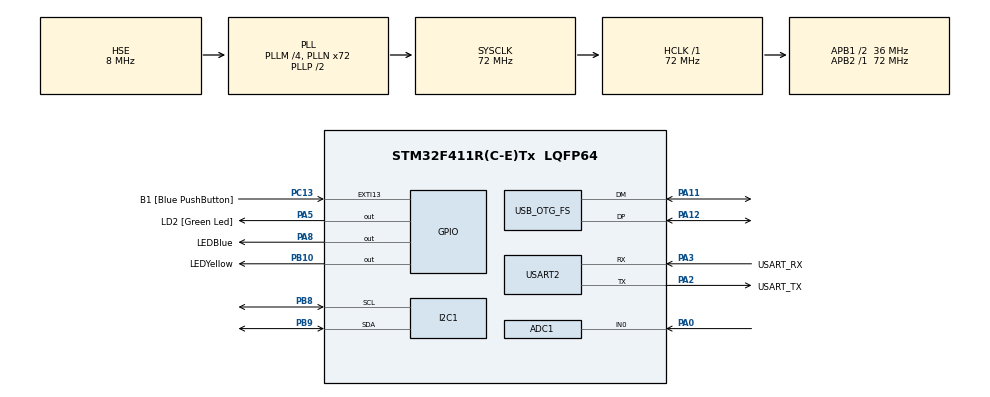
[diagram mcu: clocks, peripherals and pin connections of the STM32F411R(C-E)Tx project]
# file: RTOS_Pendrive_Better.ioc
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ADC1.Channel-0\#ChannelRegularConversion=ADC_CHANNEL_0
ADC1.DMAContinuousRequests=ENABLE
ADC1.ExternalTrigConv=ADC_EXTERNALTRIGCONV_T2_TRGO
ADC1.NbrOfConversionFlag=1
ADC1.Rank-0\#ChannelRegularConversion=1
ADC1.SamplingTime-0\#ChannelRegularConversion=ADC_SAMPLETIME_3CYCLES
ADC1.master=1
Dma.ADC1.0.Direction=DMA_PERIPH_TO_MEMORY
Dma.ADC1.0.FIFOMode=DMA_FIFOMODE_DISABLE
Dma.ADC1.0.Instance=DMA2_Stream0
Dma.ADC1.0.MemDataAlignment=DMA_MDATAALIGN_HALFWORD
Dma.ADC1.0.MemInc=DMA_MINC_ENABLE
Dma.ADC1.0.Mode=DMA_CIRCULAR
Dma.ADC1.0.PeriphDataAlignment=DMA_PDATAALIGN_HALFWORD
Dma.ADC1.0.PeriphInc=DMA_PINC_DISABLE
Dma.ADC1.0.Priority=DMA_PRIORITY_LOW
Dma.Request0=ADC1
FATFS._USE_LFN=2
FREERTOS.BinarySemaphores01=SemaphoreBmpQueue,Dynamic,NULL;SemaphoreBmpPenQueue,Dynamic,NULL
FREERTOS.Mutexes01=MutexPritnf,Dynamic,NULL;MutexI2C1,Dynamic,NULL;MutexBmpData,Dynamic,NULL
FREERTOS.Queues01=QueueBmpData,8,BmpData_t,0,Dynamic,NULL,NULL;QueueFFTData,16,FFTData_t,0,Dynamic,NULL,NULL;QueueBmpPenData,8,BmpData_t,0,Dynamic,NULL,NULL
FREERTOS.Tasks01=HeartbeatTask,24,128,StartHeartbeatTask,Default,NULL,Dynamic,NULL,NULL;Bmp280Task,32,256,StartBmp280Task,Default,NULL,Dynamic,NULL,NULL;OledTask,16,256,StartOledTask,Default,NULL,Dynamic,NULL,NULL;FFTTask,40,512,StartFFTTask,Default,NULL,Dynamic,NULL,NULL;PendriveTask,17,512,StartPendriveTask,Default,NULL,Dynamic,NULL,NULL
FREERTOS.Timers01=TimerBmpData,TimerBmpDataCallback,osTimerPeriodic,Default,NULL,Dynamic,NULL;TimerBmpPenData,TimerBmpPenDataCallback,osTimerPeriodic,Default,NULL,Dynamic,NULL
FREERTOS.configCHECK_FOR_STACK_OVERFLOW=2
FREERTOS.configTIMER_TASK_PRIORITY=17
FREERTOS.configTOTAL_HEAP_SIZE=32000
FREERTOS.configUSE_MALLOC_FAILED_HOOK=1
I2C1.I2C_Mode=I2C_Fast
Mcu.Family=STM32F4
Mcu.Name=STM32F411R(C-E)Tx
Mcu.Package=LQFP64
NVIC.ADC_IRQn=true\:5\:0\:false\:false\:true\:true\:true\:true\:true
NVIC.DMA2_Stream0_IRQn=true\:5\:0\:false\:false\:true\:true\:false\:true\:true
NVIC.EXTI15_10_IRQn=true\:5\:0\:false\:false\:true\:true\:true\:true\:true
NVIC.OTG_FS_IRQn=true\:5\:0\:false\:false\:true\:true\:false\:true\:true
NVIC.PriorityGroup=NVIC_PRIORITYGROUP_4
NVIC.TIM1_UP_TIM10_IRQn=true\:15\:0\:false\:false\:true\:false\:false\:true\:true
NVIC.TimeBase=TIM1_UP_TIM10_IRQn
NVIC.TimeBaseIP=TIM10
PA0-WKUP.Signal=ADCx_IN0
PA11.Mode=Host_Only
PA11.Signal=USB_OTG_FS_DM
PA12.Mode=Host_Only
PA12.Signal=USB_OTG_FS_DP
PA13.GPIO_Label=TMS
PA13.Mode=Serial_Wire
PA13.Signal=SYS_JTMS-SWDIO
PA14.GPIO_Label=TCK
PA14.Mode=Serial_Wire
PA14.Signal=SYS_JTCK-SWCLK
PA2.GPIO_Label=USART_TX
PA2.Mode=Asynchronous
PA2.Signal=USART2_TX
PA3.GPIO_Label=USART_RX
PA3.Mode=Asynchronous
PA3.Signal=USART2_RX
PA5.GPIO_Label=LD2 [Green Led]
PA5.Signal=GPIO_Output
PA8.GPIO_Label=LEDBlue
PA8.Signal=GPIO_Output
PB10.GPIO_Label=LEDYellow
PB10.Signal=GPIO_Output
PB3.GPIO_Label=SWO
PB3.Signal=SYS_JTDO-SWO
PB8.Mode=I2C
PB8.Signal=I2C1_SCL
PB9.Mode=I2C
PB9.Signal=I2C1_SDA
PC13-ANTI_TAMP.GPIO_Label=B1 [Blue PushButton]
PC13-ANTI_TAMP.GPIO_ModeDefaultEXTI=GPIO_MODE_IT_FALLING
PC13-ANTI_TAMP.Signal=GPXTI13
PC14-OSC32_IN.Mode=LSE-External-Oscillator
PC14-OSC32_IN.Signal=RCC_OSC32_IN
PC15-OSC32_OUT.Mode=LSE-External-Oscillator
PC15-OSC32_OUT.Signal=RCC_OSC32_OUT
PH0\ -\ OSC_IN.Mode=HSE-External-Clock-Source
PH0\ -\ OSC_IN.Signal=RCC_OSC_IN
PH1\ -\ OSC_OUT.Mode=HSE-External-Clock-Source
PH1\ -\ OSC_OUT.Signal=RCC_OSC_OUT
ProjectManager.HeapSize=0x200
ProjectManager.StackSize=0x400
ProjectManager.TargetToolchain=STM32CubeIDE
RCC.48MHZClocksFreq_Value=48000000
RCC.AHBFreq_Value=72000000
RCC.APB1CLKDivider=RCC_HCLK_DIV2
RCC.APB1Freq_Value=36000000
RCC.APB1TimFreq_Value=72000000
RCC.APB2Freq_Value=72000000
RCC.APB2TimFreq_Value=72000000
RCC.CortexFreq_Value=72000000
RCC.FLatency-AdvancedSettings=FLASH_LATENCY_2
RCC.HCLKFreq_Value=72000000
RCC.HSE_VALUE=8000000
RCC.HSI_VALUE=16000000
RCC.PLLM=4
RCC.PLLN=72
RCC.PLLQ=3
RCC.SYSCLKFreq_VALUE=72000000
RCC.SYSCLKSource=RCC_SYSCLKSOURCE_PLLCLK
RCC.VCOOutputFreq_Value=144000000
SH.ADCx_IN0.0=ADC1_IN0,IN0
TIM2.ClockDivision=TIM_CLOCKDIVISION_DIV2
TIM2.Period=233
TIM2.Prescaler=2
TIM2.TIM_MasterOutputTrigger=TIM_TRGO_UPDATE
USART2.VirtualMode=VM_ASYNC
USB_HOST.USBH_HandleTypeDef=hUsbHostFS
USB_HOST.USBH_PROCESS_STACK_SIZE=1024
USB_HOST.VirtualModeFS=Msc
USB_OTG_FS.VirtualMode=Host_Only
USB_OTG_FS.phy_itface=HCD_PHY_EMBEDDED
VP_FATFS_VS_USB.Mode=USB
VP_FREERTOS_VS_CMSIS_V2.Mode=CMSIS_V2
VP_SYS_VS_tim10.Mode=TIM10
VP_TIM2_VS_ClockSourceINT.Mode=Internal
VP_USB_HOST_VS_USB_HOST_MSC_FS.Mode=MSC_FS
board=NUCLEO-F411RE

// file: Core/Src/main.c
/* USER CODE BEGIN Header */
/**
  ******************************************************************************
  * @file           : main.c
  * @brief          : Main program body
  ******************************************************************************
  * @attention
  *
  * Copyright (c) 2023 STMicroelectronics.
  * All rights reserved.
  *
  * This software is licensed under terms that can be found in the LICENSE file
  * in the root directory of this software component.
  * If no LICENSE file comes with this software, it is provided AS-IS.
  *
  ******************************************************************************
  */
/* USER CODE END Header */
#include "main.h"
#include "cmsis_os.h"
#include "adc.h"
#include "dma.h"
#include "fatfs.h"
#include "i2c.h"
#include "tim.h"
#include "usart.h"
#include "usb_host.h"
#include "gpio.h"

void SystemClock_Config(void);
void MX_FREERTOS_Init(void);

int main(void)
{

  /* MCU Configuration--------------------------------------------------------*/

  /* Reset of all peripherals, Initializes the Flash interface and the Systick. */
  HAL_Init();

  /* Configure the system clock */
  SystemClock_Config();

  /* Initialize all configured peripherals */
  MX_GPIO_Init();
  MX_DMA_Init();
  MX_USART2_UART_Init();
  MX_I2C1_Init();
  MX_ADC1_Init();
  MX_TIM2_Init();
  MX_FATFS_Init();

  /* Init scheduler */
  osKernelInitialize();  /* Call init function for freertos objects (in freertos.c) */
  MX_FREERTOS_Init();

  /* Start scheduler */
  osKernelStart();

  /* We should never get here as control is now taken by the scheduler */
  /* Infinite loop */
  while (1)
  {

  }
}

void SystemClock_Config(void)
{
  RCC_OscInitTypeDef RCC_OscInitStruct = {0};
  RCC_ClkInitTypeDef RCC_ClkInitStruct = {0};

  /** Configure the main internal regulator output voltage
  */
  __HAL_RCC_PWR_CLK_ENABLE();
  __HAL_PWR_VOLTAGESCALING_CONFIG(PWR_REGULATOR_VOLTAGE_SCALE1);

  /** Initializes the RCC Oscillators according to the specified parameters
  * in the RCC_OscInitTypeDef structure.
  */
  RCC_OscInitStruct.OscillatorType = RCC_OSCILLATORTYPE_HSE;
  RCC_OscInitStruct.HSEState = RCC_HSE_BYPASS;
  RCC_OscInitStruct.PLL.PLLState = RCC_PLL_ON;
  RCC_OscInitStruct.PLL.PLLSource = RCC_PLLSOURCE_HSE;
  RCC_OscInitStruct.PLL.PLLM = 4;
  RCC_OscInitStruct.PLL.PLLN = 72;
  RCC_OscInitStruct.PLL.PLLP = RCC_PLLP_DIV2;
  RCC_OscInitStruct.PLL.PLLQ = 3;
  if (HAL_RCC_OscConfig(&RCC_OscInitStruct) != HAL_OK)
  {
    Error_Handler();
  }

  /** Initializes the CPU, AHB and APB buses clocks
  */
  RCC_ClkInitStruct.ClockType = RCC_CLOCKTYPE_HCLK|RCC_CLOCKTYPE_SYSCLK
                              |RCC_CLOCKTYPE_PCLK1|RCC_CLOCKTYPE_PCLK2;
  RCC_ClkInitStruct.SYSCLKSource = RCC_SYSCLKSOURCE_PLLCLK;
  RCC_ClkInitStruct.AHBCLKDivider = RCC_SYSCLK_DIV1;
  RCC_ClkInitStruct.APB1CLKDivider = RCC_HCLK_DIV2;
  RCC_ClkInitStruct.APB2CLKDivider = RCC_HCLK_DIV1;

  if (HAL_RCC_ClockConfig(&RCC_ClkInitStruct, FLASH_LATENCY_2) != HAL_OK)
  {
    Error_Handler();
  }
}

void HAL_TIM_PeriodElapsedCallback(TIM_HandleTypeDef *htim)
{
  if (htim->Instance == TIM10) {
    HAL_IncTick();
  }
}

void Error_Handler(void)
{
  __disable_irq();
  while (1)
  {
  }
}

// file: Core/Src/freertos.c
/* USER CODE BEGIN Header */
/**
  ******************************************************************************
  * File Name          : freertos.c
  * Description        : Code for freertos applications
  ******************************************************************************
  * @attention
  *
  * Copyright (c) 2023 STMicroelectronics.
  * All rights reserved.
  *
  * This software is licensed under terms that can be found in the LICENSE file
  * in the root directory of this software component.
  * If no LICENSE file comes with this software, it is provided AS-IS.
  *
  ******************************************************************************
  */
/* USER CODE END Header */

#include "FreeRTOS.h"
#include "task.h"
#include "main.h"
#include "cmsis_os.h"

/* USER CODE BEGIN Includes */
#include "printf.h"
#include "bmp280.h"
#include "i2c.h"
#include "usart.h"
#include "SSD1306_OLED.h"
#include "GFX_BW.h"
#include "fonts/fonts.h"
#include "arm_math.h"
#include "tim.h"
#include "adc.h"
#include "usb_host.h"
#include "fatfs.h"
/* USER CODE END Includes */

/* USER CODE BEGIN PD */
#define FFT_SAMPLES 1024

#define f_unmount(path) f_mount(0, path, 0)
/* USER CODE END PD */

/* USER CODE BEGIN Variables */
typedef struct
{
	float Pressure;
	float Temperature;
}BmpData_t;

typedef struct
{
	uint8_t OutFreqArray[10];
} FFTData_t;

// variables for USB
volatile uint8_t UnmountUSB = 0;

/* USER CODE END Variables */
/* Definitions for HeartbeatTask */
osThreadId_t HeartbeatTaskHandle;
const osThreadAttr_t HeartbeatTask_attributes = {
  .name = "HeartbeatTask",
  .stack_size = 128 * 4,
  .priority = (osPriority_t) osPriorityNormal,
};
/* Definitions for Bmp280Task */
osThreadId_t Bmp280TaskHandle;
const osThreadAttr_t Bmp280Task_attributes = {
  .name = "Bmp280Task",
  .stack_size = 256 * 4,
  .priority = (osPriority_t) osPriorityAboveNormal,
};
/* Definitions for OledTask */
osThreadId_t OledTaskHandle;
const osThreadAttr_t OledTask_attributes = {
  .name = "OledTask",
  .stack_size = 256 * 4,
  .priority = (osPriority_t) osPriorityBelowNormal,
};
/* Definitions for FFTTask */
osThreadId_t FFTTaskHandle;
const osThreadAttr_t FFTTask_attributes = {
  .name = "FFTTask",
  .stack_size = 512 * 4,
  .priority = (osPriority_t) osPriorityHigh,
};
/* Definitions for PendriveTask */
osThreadId_t PendriveTaskHandle;
const osThreadAttr_t PendriveTask_attributes = {
  .name = "PendriveTask",
  .stack_size = 512 * 4,
  .priority = (osPriority_t) osPriorityBelowNormal1,
};
/* Definitions for QueueBmpData */
osMessageQueueId_t QueueBmpDataHandle;
const osMessageQueueAttr_t QueueBmpData_attributes = {
  .name = "QueueBmpData"
};
/* Definitions for QueueFFTData */
osMessageQueueId_t QueueFFTDataHandle;
const osMessageQueueAttr_t QueueFFTData_attributes = {
  .name = "QueueFFTData"
};
/* Definitions for QueueBmpPenData */
osMessageQueueId_t QueueBmpPenDataHandle;
const osMessageQueueAttr_t QueueBmpPenData_attributes = {
  .name = "QueueBmpPenData"
};
/* Definitions for TimerBmpData */
osTimerId_t TimerBmpDataHandle;
const osTimerAttr_t TimerBmpData_attributes = {
  .name = "TimerBmpData"
};
/* Definitions for TimerBmpPenData */
osTimerId_t TimerBmpPenDataHandle;
const osTimerAttr_t TimerBmpPenData_attributes = {
  .name = "TimerBmpPenData"
};
/* Definitions for MutexPritnf */
osMutexId_t MutexPritnfHandle;
const osMutexAttr_t MutexPritnf_attributes = {
  .name = "MutexPritnf"
};
/* Definitions for MutexI2C1 */
osMutexId_t MutexI2C1Handle;
const osMutexAttr_t MutexI2C1_attributes = {
  .name = "MutexI2C1"
};
/* Definitions for MutexBmpData */
osMutexId_t MutexBmpDataHandle;
const osMutexAttr_t MutexBmpData_attributes = {
  .name = "MutexBmpData"
};
/* Definitions for SemaphoreBmpQueue */
osSemaphoreId_t SemaphoreBmpQueueHandle;
const osSemaphoreAttr_t SemaphoreBmpQueue_attributes = {
  .name = "SemaphoreBmpQueue"
};
/* Definitions for SemaphoreBmpPenQueue */
osSemaphoreId_t SemaphoreBmpPenQueueHandle;
const osSemaphoreAttr_t SemaphoreBmpPenQueue_attributes = {
  .name = "SemaphoreBmpPenQueue"
};

/* USER CODE BEGIN FunctionPrototypes */
float complexABS(float real, float compl);
/* USER CODE END FunctionPrototypes */

void StartHeartbeatTask(void *argument);
void StartBmp280Task(void *argument);
void StartOledTask(void *argument);
void StartFFTTask(void *argument);
void StartPendriveTask(void *argument);
void TimerBmpDataCallback(void *argument);
void TimerBmpPenDataCallback(void *argument);

extern void MX_USB_HOST_Init(void);
void MX_FREERTOS_Init(void); /* (MISRA C 2004 rule 8.1) */

/* Hook prototypes */
void vApplicationStackOverflowHook(xTaskHandle xTask, signed char *pcTaskName);
void vApplicationMallocFailedHook(void);

/* USER CODE BEGIN 4 */
void vApplicationStackOverflowHook(xTaskHandle xTask, signed char *pcTaskName)
{
   /* Run time stack overflow checking is performed if
   configCHECK_FOR_STACK_OVERFLOW is defined to 1 or 2. This hook function is
   called if a stack overflow is detected. */
	printf(pcTaskName);
	while(1){}
}
/* USER CODE END 4 */

/* USER CODE BEGIN 5 */
void vApplicationMallocFailedHook(void)
{
   /* vApplicationMallocFailedHook() will only be called if
   configUSE_MALLOC_FAILED_HOOK is set to 1 in FreeRTOSConfig.h. It is a hook
   function that will get called if a call to pvPortMalloc() fails.
   pvPortMalloc() is called internally by the kernel whenever a task, queue,
   timer or semaphore is created. It is also called by various parts of the
   demo application. If heap_1.c or heap_2.c are used, then the size of the
   heap available to pvPortMalloc() is defined by configTOTAL_HEAP_SIZE in
   FreeRTOSConfig.h, and the xPortGetFreeHeapSize() API function can be used
   to query the size of free heap space that remains (although it does not
   provide information on how the remaining heap might be fragmented). */
	while(1){}
}
/* USER CODE END 5 */

void MX_FREERTOS_Init(void) {
  /* Create the mutex(es) */
  /* creation of MutexPritnf */
  MutexPritnfHandle = osMutexNew(&MutexPritnf_attributes);

  /* creation of MutexI2C1 */
  MutexI2C1Handle = osMutexNew(&MutexI2C1_attributes);

  /* creation of MutexBmpData */
  MutexBmpDataHandle = osMutexNew(&MutexBmpData_attributes);

  /* Create the semaphores(s) */
  /* creation of SemaphoreBmpQueue */
  SemaphoreBmpQueueHandle = osSemaphoreNew(1, 1, &SemaphoreBmpQueue_attributes);

  /* creation of SemaphoreBmpPenQueue */
  SemaphoreBmpPenQueueHandle = osSemaphoreNew(1, 1, &SemaphoreBmpPenQueue_attributes);

  /* Create the timer(s) */
  /* creation of TimerBmpData */
  TimerBmpDataHandle = osTimerNew(TimerBmpDataCallback, osTimerPeriodic, NULL, &TimerBmpData_attributes);

  /* creation of TimerBmpPenData */
  TimerBmpPenDataHandle = osTimerNew(TimerBmpPenDataCallback, osTimerPeriodic, NULL, &TimerBmpPenData_attributes);

  /* Create the queue(s) */
  /* creation of QueueBmpData */
  QueueBmpDataHandle = osMessageQueueNew (8, sizeof(BmpData_t), &QueueBmpData_attributes);

  /* creation of QueueFFTData */
  QueueFFTDataHandle = osMessageQueueNew (16, sizeof(FFTData_t), &QueueFFTData_attributes);

  /* creation of QueueBmpPenData */
  QueueBmpPenDataHandle = osMessageQueueNew (8, sizeof(BmpData_t), &QueueBmpPenData_attributes);

  /* Create the thread(s) */
  /* creation of HeartbeatTask */
  HeartbeatTaskHandle = osThreadNew(StartHeartbeatTask, NULL, &HeartbeatTask_attributes);

  /* creation of Bmp280Task */
  Bmp280TaskHandle = osThreadNew(StartBmp280Task, NULL, &Bmp280Task_attributes);

  /* creation of OledTask */
  OledTaskHandle = osThreadNew(StartOledTask, NULL, &OledTask_attributes);

  /* creation of FFTTask */
  FFTTaskHandle = osThreadNew(StartFFTTask, NULL, &FFTTask_attributes);

  /* creation of PendriveTask */
  PendriveTaskHandle = osThreadNew(StartPendriveTask, NULL, &PendriveTask_attributes);

}

void StartHeartbeatTask(void *argument)
{
  /* init code for USB_HOST */
  MX_USB_HOST_Init();
  /* USER CODE BEGIN StartHeartbeatTask */
  /* Infinite loop */
  for(;;)
  {
	HAL_GPIO_TogglePin(LD2_GPIO_Port, LD2_Pin);
    osDelay(500);
  }
  /* USER CODE END StartHeartbeatTask */
}

void StartBmp280Task(void *argument)
{
  /* USER CODE BEGIN StartBmp280Task */
	BMP280_t Bmp280;
	BmpData_t _BmpData;
	uint32_t DelayTick = osKernelGetTickCount();

	osMutexAcquire(MutexI2C1Handle, osWaitForever);
	BMP280_Init(&Bmp280, &hi2c1, 0x76);
	osMutexRelease(MutexI2C1Handle);

	// Start Timer to get data form bmp to display
	osTimerStart(TimerBmpDataHandle, 100);

  /* Infinite loop */
  for(;;)
  {
	//printf("BMP\n\r");
	osMutexAcquire(MutexI2C1Handle, osWaitForever);
	BMP280_ReadTemperatureAndPressure(&Bmp280, &_BmpData.Pressure, &_BmpData.Temperature);
	osMutexRelease(MutexI2C1Handle);

	if(osOK == osSemaphoreAcquire(SemaphoreBmpQueueHandle, 0))
	{
		osMessageQueuePut(QueueBmpDataHandle, &_BmpData, 0, osWaitForever);
	}
	if(osOK == osSemaphoreAcquire(SemaphoreBmpPenQueueHandle, 0))
	{
		osMessageQueuePut(QueueBmpPenDataHandle, &_BmpData, 0, osWaitForever);
	}
//	printf("Temperature: %.2f, Pressure: %.2f\n\r", _BmpData.Temperature, _BmpData.Pressure);
	DelayTick += 10;
    osDelayUntil(DelayTick);
  }
  /* USER CODE END StartBmp280Task */
}

void StartOledTask(void *argument)
{
  /* USER CODE BEGIN StartOledTask */
	char Message[32];
	BmpData_t _BmpData;
	FFTData_t _FFTData;
	//uint8_t i = 0;

	osMutexAcquire(MutexI2C1Handle, osWaitForever);
	SSD1306_Init(&hi2c1);
	osMutexRelease(MutexI2C1Handle);

	GFX_SetFont(font_8x5);
	SSD1306_Clear(BLACK);

	SSD1306_Display();

  /* Infinite loop */
  for(;;)
  {
	SSD1306_Clear(BLACK);
	//printf("Oled\n\r");
	osMessageQueueGet(QueueBmpDataHandle, &_BmpData, 0, 0);

	osMessageQueueGet(QueueFFTDataHandle, &_FFTData, 0, 0);

	sprintf(Message, "Temp: %.2f C",  _BmpData.Temperature);
	GFX_DrawString(0,0, Message, WHITE, BLACK);
	sprintf(Message, "Press: %.2f hPa",_BmpData.Pressure);
	GFX_DrawString(0,15, Message, WHITE, BLACK);

	// FFT
	for(uint8_t i = 0; i < 10; i++) // Each frequency
	{
	  GFX_DrawFillRectangle(10+(i*11), 64-_FFTData.OutFreqArray[i], 10, _FFTData.OutFreqArray[i], WHITE);
	}

	SSD1306_Display();

  }
  /* USER CODE END StartOledTask */
}

void StartFFTTask(void *argument)
{
  /* USER CODE BEGIN StartFFTTask */
	arm_rfft_fast_instance_f32 FFTHandler;
	FFTData_t FFTData;
	int FreqPoint = 0;
	int Offset = 55; // variable noise floor offset

	uint16_t *AdcMicrophone;
	float *FFTInBuffer;
	float *FFTOutBuffer;
	int *Freqs;

	// zaalakujmy je na stercie od FRTOS'a
	AdcMicrophone = pvPortMalloc(FFT_SAMPLES * sizeof(uint16_t));
	FFTInBuffer = pvPortMalloc(FFT_SAMPLES * sizeof(float));
	FFTOutBuffer = pvPortMalloc(FFT_SAMPLES * sizeof(float));
	Freqs = pvPortMalloc(FFT_SAMPLES * sizeof(int));

	HAL_TIM_Base_Start(&htim2);
	HAL_ADC_Start_DMA(&hadc1, (uint32_t*)AdcMicrophone, FFT_SAMPLES);
	arm_rfft_fast_init_f32(&FFTHandler, FFT_SAMPLES);

  /* Infinite loop */
  for(;;)
  {
	  osThreadFlagsWait(0x01, osFlagsWaitAll, osWaitForever);
	  for(uint32_t i = 0; i < FFT_SAMPLES; i++)
	  {
		  FFTInBuffer[i] = (float)AdcMicrophone[i];
		  //printf("%d\n\r", AdcMicrophone[i]);
	  }
	  arm_rfft_fast_f32(&FFTHandler, FFTInBuffer, FFTOutBuffer, 0); // zwraca liczby zespolone

	  FreqPoint = 0;
	  // calculate abs values and linear-to-dB
	  for (int i = 0; i < FFT_SAMPLES; i = i+2)
	  {
		  Freqs[FreqPoint] = (int)(20*log10f(complexABS(FFTOutBuffer[i], FFTOutBuffer[i+1]))) - Offset;

		  if(Freqs[FreqPoint] < 0)
		  {
			  Freqs[FreqPoint] = 0;
		  }
		  FreqPoint++;

	  }

//	  FFTData.OutFreqArray[0] = (uint8_t)Freqs[1]; // 22 Hz
//	  FFTData.OutFreqArray[1] = (uint8_t)Freqs[2]; // 63 Hz
//	  FFTData.OutFreqArray[2] = (uint8_t)Freqs[3]; // 125 Hz
//	  FFTData.OutFreqArray[3] = (uint8_t)Freqs[6]; // 250 Hz
//	  FFTData.OutFreqArray[4] = (uint8_t)Freqs[12]; // 500 Hz
//	  FFTData.OutFreqArray[5] = (uint8_t)Freqs[23]; // 1000 Hz
//	  FFTData.OutFreqArray[6] = (uint8_t)Freqs[51]; // 2200 Hz
//	  FFTData.OutFreqArray[7] = (uint8_t)Freqs[104]; // 4500 Hz
//	  FFTData.OutFreqArray[8] = (uint8_t)Freqs[207]; // 9000 Hz
//	  FFTData.OutFreqArray[9] = (uint8_t)Freqs[344]; // 15000 Hz

	  FFTData.OutFreqArray[0] = (uint8_t)Freqs[1]; // 50 Hz
	  FFTData.OutFreqArray[1] = (uint8_t)Freqs[2]; // 100 Hz
	  FFTData.OutFreqArray[2] = (uint8_t)Freqs[3]; // 150 Hz
	  FFTData.OutFreqArray[3] = (uint8_t)Freqs[6]; // 300 Hz
	  FFTData.OutFreqArray[4] = (uint8_t)Freqs[12]; // 600 Hz
	  FFTData.OutFreqArray[5] = (uint8_t)Freqs[20]; // 1000 Hz
	  FFTData.OutFreqArray[6] = (uint8_t)Freqs[22]; // 1100 Hz
	  FFTData.OutFreqArray[7] = (uint8_t)Freqs[40]; // 2000 Hz
	  FFTData.OutFreqArray[8] = (uint8_t)Freqs[207]; // 10350 Hz
	  FFTData.OutFreqArray[9] = (uint8_t)Freqs[344]; // 17200 Hz

	  osMessageQueuePut(QueueFFTDataHandle, &FFTData, 0, osWaitForever);

	  //CalculateFFT();
  }
  /* USER CODE END StartFFTTask */
}

void StartPendriveTask(void *argument)
{
  /* USER CODE BEGIN StartPendriveTask */
	extern ApplicationTypeDef Appli_state;
	extern uint8_t retUSBH; /* Return value for USBH */
	extern char USBHPath[4]; /* USBH logical drive path */
	extern FATFS USBHFatFS; /* File system object for USBH logical drive */
	extern FIL USBHFile; /* File object for USBH */
	FILINFO fno;
	DIR Directory;
	uint16_t nfile = 0;
	char FileName[64];
	BmpData_t _BmpData;

	typedef enum
	{
		DEVICE_MOUNT = 0,
		DIR_AND_FILE_OPEN,
		SAVE_DATA_TO_FILE,
		TRY_UNMOUNT_DEVICE,
		UNMOUNT_DEVICE,
		ERROR_DEVICE,
		MAX_NUMBER_OF_FILES
	} USBDeviceStatus_t;
	USBDeviceStatus_t USBDeviceStatus = DEVICE_MOUNT;

	HAL_GPIO_WritePin(LEDBlue_GPIO_Port, LEDBlue_Pin, GPIO_PIN_SET);
  /* Infinite loop */
  for(;;)
  {
	  switch (Appli_state)
	  {
		case APPLICATION_IDLE:
			//printf("IDLE\n\r");
			HAL_GPIO_TogglePin(LEDBlue_GPIO_Port, LEDBlue_Pin);
			HAL_GPIO_TogglePin(LEDYellow_GPIO_Port, LEDYellow_Pin);
			osDelay(1000);
			break;
		case APPLICATION_START:
			break;
		case APPLICATION_READY:
			//printf("READY\n\r");

			switch (USBDeviceStatus)
			{
				case DEVICE_MOUNT:
					retUSBH = f_mount(&USBHFatFS, (const TCHAR*)USBHPath, 1);
					if(retUSBH == FR_OK)
					{
						HAL_GPIO_WritePin(LEDBlue_GPIO_Port, LEDBlue_Pin, GPIO_PIN_SET);
						HAL_GPIO_WritePin(LEDYellow_GPIO_Port, LEDYellow_Pin, GPIO_PIN_RESET);
						printf("FatFS mounted\n\r");
						USBDeviceStatus = DIR_AND_FILE_OPEN;
					}
					else
					{
						printf("FatFS mount error\n\r");
						HAL_GPIO_WritePin(LEDBlue_GPIO_Port, LEDBlue_Pin, GPIO_PIN_RESET);
						USBDeviceStatus = ERROR_DEVICE;
					}

					break;
				case DIR_AND_FILE_OPEN:
					// make sub dir BMPData, if exist nothing happened
					retUSBH = f_mkdir("BMPData");
					if(retUSBH == FR_OK)
						printf("Created SubDir\n\r");
					else if(retUSBH != FR_OK && retUSBH != FR_EXIST )
					{
						printf("SubDir Error\n\r");
						HAL_GPIO_WritePin(LEDBlue_GPIO_Port, LEDBlue_Pin, GPIO_PIN_RESET);
						USBDeviceStatus = ERROR_DEVICE;
					}

					// Open Directory
					retUSBH = f_opendir(&Directory, "BMPData");
					if(retUSBH == FR_OK)
					{
						printf("Opened Sub Dir\n\r");
						//Find Last file...
						while(1)
						{
							retUSBH = f_readdir(&Directory, &fno);
							if(retUSBH != FR_OK || fno.fname[0] == 0)
								break;
							if(fno.fname[0] != 0)
								nfile++;
						}

					}
					else
					{
						printf("OpenDir Error\n\r");
						HAL_GPIO_WritePin(LEDBlue_GPIO_Port, LEDBlue_Pin, GPIO_PIN_RESET);
						USBDeviceStatus = ERROR_DEVICE;
					}
					//... and create new with higher number
					if((nfile + 1) > 255)
					{
						printf("Number of files: 255. MAX! Clear the device\n\r");
						HAL_GPIO_WritePin(LEDBlue_GPIO_Port, LEDBlue_Pin, GPIO_PIN_RESET);
						HAL_GPIO_WritePin(LEDYellow_GPIO_Port, LEDYellow_Pin, GPIO_PIN_RESET);
						USBDeviceStatus = MAX_NUMBER_OF_FILES;
					}
					else
					{
						sprintf(FileName, "BMPData\\BmpData%d.txt", nfile + 1);
						printf("File Name: %s\n\r", FileName);
						retUSBH = f_open(&USBHFile, (const TCHAR*)FileName, FA_CREATE_NEW | FA_WRITE);
						if(retUSBH != FR_OK)
						{
							printf("Cant open a file: %d\n\r", retUSBH);
							HAL_GPIO_WritePin(LEDBlue_GPIO_Port, LEDBlue_Pin, GPIO_PIN_RESET);
							USBDeviceStatus = ERROR_DEVICE;
						}
						else
						{
							printf("File opened\n\r");
							osTimerStart(TimerBmpPenDataHandle, 5000);
							USBDeviceStatus = SAVE_DATA_TO_FILE;
						}
					}

					break;
				case SAVE_DATA_TO_FILE:
					if(osOK == osMessageQueueGet(QueueBmpPenDataHandle, &_BmpData, 0, 0))
					{
						printf("T=%.2f, P=%.2f\n\r", _BmpData.Temperature, _BmpData.Pressure); // @suppress("Float formatting support")
						retUSBH = f_printf(&USBHFile, "T=%5d, P=%6d\n", (uint16_t)(_BmpData.Temperature *100), (uint32_t)(_BmpData.Pressure*100));
						if(retUSBH > 0)
							printf("Zapisalem do pliku\n\r");
						else
							printf("Nie zapisalem do pliku: %d\n\r", retUSBH);
					}
					if(UnmountUSB == 1)
					{
						USBDeviceStatus = TRY_UNMOUNT_DEVICE;
					}
					osDelay(1000);
					break;
				case TRY_UNMOUNT_DEVICE:
					// stop timer
					osTimerStop(TimerBmpPenDataHandle);
					// close file
					retUSBH = f_close(&USBHFile);
					if(retUSBH != FR_OK)
					{
						printf("Cant close a file: %d\n\r", retUSBH);
						USBDeviceStatus = ERROR_DEVICE;
					}
					// close directory
					retUSBH = f_closedir(&Directory);
					if(retUSBH != FR_OK)
					{
						printf("Can't close directory: %d\n\r", retUSBH);
						USBDeviceStatus = ERROR_DEVICE;
					}
					retUSBH = f_unmount((const TCHAR*)USBHPath);
					if(retUSBH != FR_OK)
					{
						printf("Device can't be unmounted\n\r");
						USBDeviceStatus = ERROR_DEVICE;
					}
					else
					{
						printf("You can unmount your device\n\r");
						UnmountUSB = 0;
						nfile = 0;
						HAL_GPIO_WritePin(LEDYellow_GPIO_Port, LEDYellow_Pin, GPIO_PIN_RESET);
						USBDeviceStatus = UNMOUNT_DEVICE;
					}

					break;
				case UNMOUNT_DEVICE:
					HAL_GPIO_TogglePin(LEDBlue_GPIO_Port, LEDBlue_Pin);
					osDelay(100);
					break;
				case ERROR_DEVICE:
					HAL_GPIO_TogglePin(LEDYellow_GPIO_Port, LEDYellow_Pin);
					if(UnmountUSB == 1)
					{
						USBDeviceStatus = TRY_UNMOUNT_DEVICE;
					}
					osDelay(100);
					break;
				case MAX_NUMBER_OF_FILES:
					HAL_GPIO_TogglePin(LEDBlue_GPIO_Port, LEDBlue_Pin);
					HAL_GPIO_TogglePin(LEDYellow_GPIO_Port, LEDYellow_Pin);
					if(UnmountUSB == 1)
					{
						USBDeviceStatus = TRY_UNMOUNT_DEVICE;
						HAL_GPIO_WritePin(LEDYellow_GPIO_Port, LEDYellow_Pin, GPIO_PIN_RESET);
					}
					osDelay(100);
					break;
				default:
					break;
			}
			break;
		case APPLICATION_DISCONNECT:
			printf("DISCON\n\r");
			USBDeviceStatus = DEVICE_MOUNT;
			HAL_GPIO_WritePin(LEDBlue_GPIO_Port, LEDBlue_Pin, GPIO_PIN_SET);
			Appli_state = APPLICATION_IDLE;
			osDelay(1000);
			break;
		default:
			printf("DEFAULT\n\r");
			osDelay(1000);
			break;
	  }

  }
  /* USER CODE END StartPendriveTask */
}

/* TimerBmpDataCallback function */
void TimerBmpDataCallback(void *argument)
{
  /* USER CODE BEGIN TimerBmpDataCallback */
	osSemaphoreRelease(SemaphoreBmpQueueHandle);
  /* USER CODE END TimerBmpDataCallback */
}

/* TimerBmpPenDataCallback function */
void TimerBmpPenDataCallback(void *argument)
{
  /* USER CODE BEGIN TimerBmpPenDataCallback */
	osSemaphoreRelease(SemaphoreBmpPenQueueHandle);
  /* USER CODE END TimerBmpPenDataCallback */
}

/* USER CODE BEGIN Application */
void _putchar(char character)
{
  // send char to console etc.
	osMutexAcquire(MutexPritnfHandle, osWaitForever);
	HAL_UART_Transmit(&huart2, (uint8_t*)&character, 1, 1000);
	osMutexRelease(MutexPritnfHandle);
}

void HAL_ADC_ConvCpltCallback(ADC_HandleTypeDef* hadc)
{
	if(hadc->Instance == ADC1)
	{
//		SamplesReady = 1;
		osThreadFlagsSet(FFTTaskHandle, 0x01);
	}
}

void HAL_GPIO_EXTI_Callback(uint16_t GPIO_Pin)
{

  if(GPIO_Pin == B1_Pin)
  {
	  UnmountUSB = 1;
  }

}
float complexABS(float real, float compl)
{
	return sqrtf(real*real+compl*compl);
}
/* USER CODE END Application */
